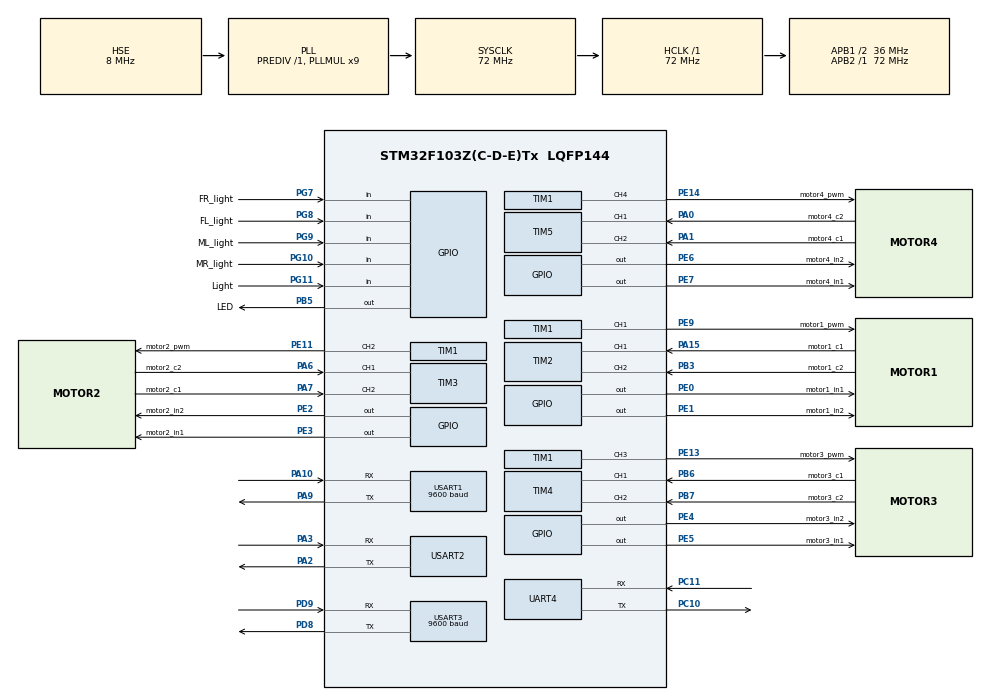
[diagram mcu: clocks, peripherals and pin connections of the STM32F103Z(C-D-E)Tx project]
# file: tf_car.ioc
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Dma.Request0=USART1_RX
Dma.USART1_RX.0.Direction=DMA_PERIPH_TO_MEMORY
Dma.USART1_RX.0.Instance=DMA1_Channel5
Dma.USART1_RX.0.MemDataAlignment=DMA_MDATAALIGN_BYTE
Dma.USART1_RX.0.MemInc=DMA_MINC_ENABLE
Dma.USART1_RX.0.Mode=DMA_CIRCULAR
Dma.USART1_RX.0.PeriphDataAlignment=DMA_PDATAALIGN_BYTE
Dma.USART1_RX.0.PeriphInc=DMA_PINC_DISABLE
Dma.USART1_RX.0.Priority=DMA_PRIORITY_LOW
Mcu.Family=STM32F1
Mcu.Name=STM32F103Z(C-D-E)Tx
Mcu.Package=LQFP144
NVIC.DMA1_Channel5_IRQn=true\:0\:0\:false\:false\:true\:false\:true\:true
NVIC.PriorityGroup=NVIC_PRIORITYGROUP_4
NVIC.TIM2_IRQn=true\:0\:0\:true\:false\:true\:true\:true\:true
NVIC.TIM3_IRQn=true\:0\:0\:true\:false\:true\:true\:true\:true
NVIC.TIM4_IRQn=true\:0\:0\:true\:false\:true\:true\:true\:true
NVIC.TIM5_IRQn=true\:0\:0\:true\:false\:true\:true\:true\:true
NVIC.TIM6_IRQn=true\:0\:0\:false\:false\:true\:true\:true\:true
NVIC.UART4_IRQn=true\:0\:0\:false\:false\:true\:true\:true\:true
NVIC.USART1_IRQn=true\:0\:0\:false\:false\:true\:true\:true\:true
NVIC.USART2_IRQn=true\:0\:0\:true\:false\:true\:true\:true\:true
NVIC.USART3_IRQn=true\:0\:0\:false\:false\:true\:true\:true\:true
OSC_IN.Mode=HSE-External-Oscillator
OSC_IN.Signal=RCC_OSC_IN
OSC_OUT.Mode=HSE-External-Oscillator
OSC_OUT.Signal=RCC_OSC_OUT
PA0-WKUP.GPIO_Label=motor4_c2
PA0-WKUP.GPIO_PuPd=GPIO_PULLUP
PA0-WKUP.Signal=S_TIM5_CH1
PA1.GPIO_Label=motor4_c1
PA1.GPIO_PuPd=GPIO_PULLUP
PA1.Signal=S_TIM5_CH2
PA10.Mode=Asynchronous
PA10.Signal=USART1_RX
PA13.Mode=Serial_Wire
PA13.Signal=SYS_JTMS-SWDIO
PA14.Mode=Serial_Wire
PA14.Signal=SYS_JTCK-SWCLK
PA15.GPIO_Label=motor1_c1
PA15.GPIO_PuPd=GPIO_PULLUP
PA15.Signal=S_TIM2_CH1_ETR
PA2.Mode=Asynchronous
PA2.Signal=USART2_TX
PA3.Mode=Asynchronous
PA3.Signal=USART2_RX
PA6.GPIO_Label=motor2_c2
PA6.GPIO_PuPd=GPIO_PULLUP
PA6.Signal=S_TIM3_CH1
PA7.GPIO_Label=motor2_c1
PA7.GPIO_PuPd=GPIO_PULLUP
PA7.Signal=S_TIM3_CH2
PA9.Mode=Asynchronous
PA9.Signal=USART1_TX
PB3.GPIO_Label=motor1_c2
PB3.GPIO_PuPd=GPIO_PULLUP
PB3.Signal=S_TIM2_CH2
PB5.GPIO_Label=LED
PB5.Signal=GPIO_Output
PB6.GPIO_Label=motor3_c1
PB6.GPIO_PuPd=GPIO_PULLUP
PB6.Signal=S_TIM4_CH1
PB7.GPIO_Label=motor3_c2
PB7.GPIO_PuPd=GPIO_PULLUP
PB7.Signal=S_TIM4_CH2
PB8.Signal=I2C1_SCL
PB9.Signal=I2C1_SDA
PC10.Mode=Asynchronous
PC10.Signal=UART4_TX
PC11.Mode=Asynchronous
PC11.Signal=UART4_RX
PD8.Mode=Asynchronous
PD8.Signal=USART3_TX
PD9.Mode=Asynchronous
PD9.Signal=USART3_RX
PE0.GPIO_Label=motor1_in1
PE0.Signal=GPIO_Output
PE1.GPIO_Label=motor1_in2
PE1.Signal=GPIO_Output
PE11.GPIO_Label=motor2_pwm
PE11.Signal=S_TIM1_CH2
PE13.GPIO_Label=motor3_pwm
PE13.Signal=S_TIM1_CH3
PE14.GPIO_Label=motor4_pwm
PE14.Signal=S_TIM1_CH4
PE2.GPIO_Label=motor2_in2
PE2.Signal=GPIO_Output
PE3.GPIO_Label=motor2_in1
PE3.Signal=GPIO_Output
PE4.GPIO_Label=motor3_in2
PE4.Signal=GPIO_Output
PE5.GPIO_Label=motor3_in1
PE5.Signal=GPIO_Output
PE6.GPIO_Label=motor4_in2
PE6.Signal=GPIO_Output
PE7.GPIO_Label=motor4_in1
PE7.Signal=GPIO_Output
PE9.GPIO_Label=motor1_pwm
PE9.Signal=S_TIM1_CH1
PG10.GPIO_Label=MR_light
PG10.Signal=GPIO_Input
PG11.GPIO_Label=Light
PG11.Signal=GPIO_Input
PG7.GPIO_Label=FR_light
PG7.Signal=GPIO_Input
PG8.GPIO_Label=FL_light
PG8.Signal=GPIO_Input
PG9.GPIO_Label=ML_light
PG9.Signal=GPIO_Input
ProjectManager.HeapSize=0x200
ProjectManager.StackSize=0x400
ProjectManager.TargetToolchain=MDK-ARM V5.32
RCC.AHBFreq_Value=72000000
RCC.APB1CLKDivider=RCC_HCLK_DIV2
RCC.APB1Freq_Value=36000000
RCC.APB1TimFreq_Value=72000000
RCC.APB2Freq_Value=72000000
RCC.APB2TimFreq_Value=72000000
RCC.HCLKFreq_Value=72000000
RCC.PLLMUL=RCC_PLL_MUL9
RCC.PLLSourceVirtual=RCC_PLLSOURCE_HSE
RCC.SYSCLKFreq_VALUE=72000000
RCC.SYSCLKSource=RCC_SYSCLKSOURCE_PLLCLK
RCC.USBFreq_Value=72000000
SH.S_TIM1_CH1.0=TIM1_CH1,PWM Generation1 CH1
SH.S_TIM1_CH2.0=TIM1_CH2,PWM Generation2 CH2
SH.S_TIM1_CH3.0=TIM1_CH3,PWM Generation3 CH3
SH.S_TIM1_CH4.0=TIM1_CH4,PWM Generation4 CH4
SH.S_TIM2_CH1_ETR.0=TIM2_CH1,Encoder_Interface
SH.S_TIM2_CH2.0=TIM2_CH2,Encoder_Interface
SH.S_TIM3_CH1.0=TIM3_CH1,Encoder_Interface
SH.S_TIM3_CH2.0=TIM3_CH2,Encoder_Interface
SH.S_TIM4_CH1.0=TIM4_CH1,Encoder_Interface
SH.S_TIM4_CH2.0=TIM4_CH2,Encoder_Interface
SH.S_TIM5_CH1.0=TIM5_CH1,Encoder_Interface
SH.S_TIM5_CH2.0=TIM5_CH2,Encoder_Interface
TIM1.AutoReloadPreload=TIM_AUTORELOAD_PRELOAD_ENABLE
TIM1.Channel-PWM\ Generation1\ CH1=TIM_CHANNEL_1
TIM1.Channel-PWM\ Generation2\ CH2=TIM_CHANNEL_2
TIM1.Channel-PWM\ Generation3\ CH3=TIM_CHANNEL_3
TIM1.Channel-PWM\ Generation4\ CH4=TIM_CHANNEL_4
TIM1.Period=100-1
TIM1.Prescaler=1440-1
TIM1.Pulse-PWM\ Generation1\ CH1=50
TIM1.Pulse-PWM\ Generation2\ CH2=50
TIM1.Pulse-PWM\ Generation3\ CH3=50
TIM1.Pulse-PWM\ Generation4\ CH4=50
TIM2.EncoderMode=TIM_ENCODERMODE_TI12
TIM2.IC1Filter=6
TIM2.IC2Filter=6
TIM3.EncoderMode=TIM_ENCODERMODE_TI12
TIM3.IC1Filter=6
TIM3.IC2Filter=6
TIM4.EncoderMode=TIM_ENCODERMODE_TI12
TIM4.IC1Filter=6
TIM4.IC2Filter=6
TIM5.EncoderMode=TIM_ENCODERMODE_TI12
TIM5.IC1Filter=6
TIM5.IC2Filter=6
TIM6.Period=100-1
TIM6.Prescaler=720-1
UART4.VirtualMode=Asynchronous
USART1.BaudRate=9600
USART1.VirtualMode=VM_ASYNC
USART2.VirtualMode=VM_ASYNC
USART3.BaudRate=9600
USART3.VirtualMode=VM_ASYNC
VP_TIM6_VS_ClockSourceINT.Mode=Enable_Timer
board=custom

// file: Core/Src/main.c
/* USER CODE BEGIN Header */
/**
  ******************************************************************************
  * @file           : main.c
  * @brief          : Main program body
  ******************************************************************************
  * @attention
  *
  * Copyright (c) 2023 STMicroelectronics.
  * All rights reserved.
  *
  * This software is licensed under terms that can be found in the LICENSE file
  * in the root directory of this software component.
  * If no LICENSE file comes with this software, it is provided AS-IS.
  *
  ******************************************************************************
  */
/* USER CODE END Header */
#include "main.h"
#include "dma.h"
#include "tim.h"
#include "usart.h"
#include "gpio.h"

/* USER CODE BEGIN Includes */
#include "stdio.h"
#include "motor.h"
#include "encoder.h"
#include "pid.h"
#include "bsp_usart.h"
#include "bsp_tim.h"
#include "bsp_tim.h"
#include "move.h"
#include "imu.h"
#include "jy901.h"
#include "vision.h"
#include "arm.h"
#include "distance.h"
#include "cmd.h"
/* USER CODE END Includes */

void SystemClock_Config(void);
/* USER CODE BEGIN PFP */
void HAL_TIM_PeriodElapasedCallback(TIM_HandleTypeDef *htim);
void track(void);
/* USER CODE END PFP */

/* USER CODE BEGIN 0 */
extern unsigned char RedORBlue;
extern uint8_t flagr;
extern uint8_t flagg;
extern unsigned char RedORBlueData[3];
int from_a_or_b=0;//0为A，1为B
uint8_t greencount=0,redcount=0;

extern float motor1speed;
extern float motor2speed;
extern float motor3speed;
extern float motor4speed;
extern float motor1mileage;
extern float motor2mileage;
extern float motor3mileage;
extern float motor4mileage;
extern float mileage;
int position_control_flag=0;
extern tpid pid1,pid2,pid3,pid4,pid1s,pidturn;
uint16_t timercount=0;
uint16_t timercount1=0;
extern short encoder1count;
extern short encoder2count;
extern short encoder3count;
extern short encoder4count;
float v1,v2,v3,v4;
extern User_USART JY901_data;
float direction0;

/* USER CODE END 0 */

int main(void)
{
  /* USER CODE BEGIN 1 */
	int n;
	int cnt1;
  /* USER CODE END 1 */

  /* MCU Configuration--------------------------------------------------------*/

  /* Reset of all peripherals, Initializes the Flash interface and the Systick. */
  HAL_Init();

  /* Configure the system clock */
  SystemClock_Config();

  /* Initialize all configured peripherals */
  MX_GPIO_Init();
  MX_DMA_Init();
  MX_USART2_UART_Init();
  MX_TIM1_Init();
  MX_TIM2_Init();
  MX_TIM3_Init();
  MX_TIM4_Init();
  MX_TIM5_Init();
  MX_TIM6_Init();
  MX_USART1_UART_Init();
  MX_USART3_UART_Init();
  MX_UART4_Init();
  /* USER CODE BEGIN 2 */
	HAL_TIM_Base_Start_IT(&htim6);             //启动时基
	motor_encoder_init();
	motor_pwm_init();
	pid_init();
	__HAL_UART_ENABLE_IT(&huart2,UART_IT_RXNE);
	v1=0;
	v2=0;
	v3=0;
	v4=0;
	User_USART_Init(&JY901_data);
	HAL_Delay(3000);
	direction0=JY901_data.angle.angle[2];
  /* USER CODE END 2 */

  /* Infinite loop */
  /* USER CODE BEGIN WHILE */

/*         D******************E******************F */
/*         *                  *                  * */
/*         *                  *                  * */
/*         *                  *                  * */
/*         A******************B******************C */
/*         *                                       */
/*         *    ********************************** */
/*         O                                       */

/***********O点到A点右转************************* */

	HAL_Delay(1000);
	direction0=JY901_data.angle.angle[2];
	arm_action(3);  //舵机开始位
	gofoward(O_T0_A,direction0);
	gocontinue(O_T0_A,direction0);
	HAL_Delay(1000);
	turn(direction0+90);
	turn(direction0+90);
	HAL_Delay(500);

/***********ABC方向前进*************************** */
	 motor_speed_set(40,40,40,40);
  for(cnt1=0;cnt1<10;cnt1++)
{
	 act1(cnt1);//识别到放置存储区回到A过程

/***********A点后方向选择*************************** */
	 if(cnt1<9) //不是最后一次就左转
	 {
			direction0=JY901_data.angle.angle[2];
			turn(direction0-90);
		  turn(direction0-90);
	 }//此时车头朝ABC方向

	 if(cnt1==9)//最后一次直走会出发点
	 {
		 direction0=JY901_data.angle.angle[2];
		 gofoward(O_T0_A+200,direction0);
		 gocontinue(O_T0_A+200,direction0);
	 }
}
//
//

  while (1)
  {
		v1=0;
		v2=0;
		v3=0;
		v4=0;
    /* USER CODE END WHILE */

    /* USER CODE BEGIN 3 */

//		HAL_Delay(500);
//		motor_pwm_set(-40,-40,-40,-40);
//		uint8_t c_Data[]="及你太美\r\n";
//		HAL_UART_Transmit(&huart1,c_Data,sizeof(c_Data),0xffff);
//		handler_data(&pid1);
//		printf("1:%d\r\n",encoder1count);
//		printf("2:%d\r\n",encoder2count);
//		printf("3:%d\r\n",encoder3count);
//		printf("4:%d\r\n",encoder4count);
		HAL_Delay(10);
  }
  /* USER CODE END 3 */
}

void SystemClock_Config(void)
{
  RCC_OscInitTypeDef RCC_OscInitStruct = {0};
  RCC_ClkInitTypeDef RCC_ClkInitStruct = {0};

  /** Initializes the RCC Oscillators according to the specified parameters
  * in the RCC_OscInitTypeDef structure.
  */
  RCC_OscInitStruct.OscillatorType = RCC_OSCILLATORTYPE_HSE;
  RCC_OscInitStruct.HSEState = RCC_HSE_ON;
  RCC_OscInitStruct.HSEPredivValue = RCC_HSE_PREDIV_DIV1;
  RCC_OscInitStruct.HSIState = RCC_HSI_ON;
  RCC_OscInitStruct.PLL.PLLState = RCC_PLL_ON;
  RCC_OscInitStruct.PLL.PLLSource = RCC_PLLSOURCE_HSE;
  RCC_OscInitStruct.PLL.PLLMUL = RCC_PLL_MUL9;
  if (HAL_RCC_OscConfig(&RCC_OscInitStruct) != HAL_OK)
  {
    Error_Handler();
  }

  /** Initializes the CPU, AHB and APB buses clocks
  */
  RCC_ClkInitStruct.ClockType = RCC_CLOCKTYPE_HCLK|RCC_CLOCKTYPE_SYSCLK
                              |RCC_CLOCKTYPE_PCLK1|RCC_CLOCKTYPE_PCLK2;
  RCC_ClkInitStruct.SYSCLKSource = RCC_SYSCLKSOURCE_PLLCLK;
  RCC_ClkInitStruct.AHBCLKDivider = RCC_SYSCLK_DIV1;
  RCC_ClkInitStruct.APB1CLKDivider = RCC_HCLK_DIV2;
  RCC_ClkInitStruct.APB2CLKDivider = RCC_HCLK_DIV1;

  if (HAL_RCC_ClockConfig(&RCC_ClkInitStruct, FLASH_LATENCY_2) != HAL_OK)
  {
    Error_Handler();
  }
}

/* USER CODE BEGIN 4 */

void HAL_TIM_PeriodElapsedCallback(TIM_HandleTypeDef *htim)
{
   	if(htim == &htim6)//1ms 1000hz
	{
		timercount++;
		timercount1++;
//		imu_getdata();
//		if(timercount1<=5000)
//		{
//			v2=80;
//		}
//		else{
//			v2=0;
//		}
		if(timercount%10 == 0)//10ms计算速度
		{
			motor_encoder_getdata();
		}
		if(timercount%20 == 0)//20ms计算速度
		{
			pid_realize_turn(&pidturn,JY901_data.angle.angle[2]);
			if(position_control_flag==1)
			{
					motor_getmmileage();
					pid_realize_s(&pid1s,mileage);
				motor_speedpid_conrol(pid1s.out-pidturn.out,pid1s.out+pidturn.out,pid1s.out+pidturn.out,pid1s.out-pidturn.out);
			}
			else
			{

				motor_speedpid_conrol(v1-pidturn.out,v2+pidturn.out,v3+pidturn.out,v4-pidturn.out);
//				motor_speedopenloop_conrol(40,40,40,40);
				float data1,data2,data3;
				data1=(float)JY901_data.angle.angle[0];
				data2=(float)JY901_data.angle.angle[1];
				data3=(float)JY901_data.angle.angle[2];
				printf("%.2f,%.2f,%.2f\n",data1,data2,data3);
			}
			timercount=0;
		}
	}
}

void track(void)
{
	int fl,fr,ml,mr;
	fl=HAL_GPIO_ReadPin(FL_light_GPIO_Port,FL_light_Pin);
	fr=HAL_GPIO_ReadPin(FR_light_GPIO_Port,FR_light_Pin);
	ml=HAL_GPIO_ReadPin(ML_light_GPIO_Port,ML_light_Pin);
	mr=HAL_GPIO_ReadPin(MR_light_GPIO_Port,MR_light_Pin);

		if(fl ==0 && fr ==1)
		{
			v1=40;
			v3=10;
			v2=10;
			v4=40;
		}
		else if(fl ==1 && fr ==0)
		{
			v1=10;
			v3=40;
			v2=40;
			v4=10;
		}
		else
		{
			v1=40;
			v3=40;
			v2=40;
			v4=40;
		}

		if((fl == 0 && fr == 0)||(fl == 1&& fr == 1))//直走
		{
			HAL_Delay(500);
			if((fl == 0 && fr == 0)||(fl == 1&& fr == 1))
			{
			v1=40;
			v3=40;
			v2=40;
			v4=40;
			HAL_Delay(500);

			 }
		}
}
int light;
/******************识别到放置存储区回到A过程***********/
void act1(uint8_t action_cnt)
{
	mileage=0;
	light=HAL_GPIO_ReadPin(Light_GPIO_Port,Light_Pin);
	 flagr=flagg=0;
	/******************循迹等待识别到盆栽***********/
   while(1)
  {
		track();
		if(LIGHT==0)
		{
			HAL_Delay(20);//消抖
			if(LIGHT==0)
			{
			motor_stop();
			HAL_Delay(1000);
      arm_action(6);                   // 转过去识别
			__HAL_UART_ENABLE_IT(&huart4,UART_IT_IDLE);
			vision_handler();
			HAL_Delay(2500);
			if(flagr)
			{redcount++;}
			if(flagg)
			{greencount++;}
			__HAL_UART_DISABLE_IT(&huart4,UART_IT_IDLE);
//			HAL_Delay(1000);
			arm_action(1);                  //  抓取和回中
			HAL_Delay(3000);
			break;
			}
		}
  }
motor_stop();
HAL_Delay(1000);
if(action_cnt+1<=5&&flagg)//次数小于5且为绿
{
 flagg=0;
 direction0=JY901_data.angle.angle[2];

 while(1)
{
  track();
	if(HAL_GPIO_ReadPin(ML_light_GPIO_Port,ML_light_Pin)==0)
	{
		HAL_Delay(20);
		if(HAL_GPIO_ReadPin(ML_light_GPIO_Port,ML_light_Pin)==0)
		{
				mileage=0;
				direction0=JY901_data.angle.angle[2];
				turn(direction0-90);
				turn(direction0-90);
			break;
		}

	}
}
// gocontinue(A_T0_B,direction0);
// gocontinue(A_T0_B,direction0);
// mileage=0;
//	direction0=JY901_data.angle.angle[2];
// turn(direction0-90);
// turn(direction0-90);
 direction0=JY901_data.angle.angle[2];
 gofoward(B_T0_E,direction0);
	gocontinue(B_T0_E,direction0);
 direction0=JY901_data.angle.angle[2];
 turn(direction0-90);
 turn(direction0-90);
 mileage=0;
 direction0=JY901_data.angle.angle[2];//两次左转即AB向到B到E转向D

 gocontinue(greencount*1500,direction0);
 motor_stop();
 HAL_Delay(1000);
 arm_action(2);
 HAL_Delay(4500);//计算走的距离并放下
 motor_stop();
 HAL_Delay(100);
 gocontinue(E_T0_D,direction0);
 gocontinue(E_T0_D,direction0);
 direction0=JY901_data.angle.angle[2];
 turn(direction0-90);
 turn(direction0-90);
 mileage=0;
 direction0=JY901_data.angle.angle[2];
 gofoward(D_T0_A,direction0);//继续向前左转回A
 gocontinue(D_T0_A,direction0);
 from_a_or_b=0;
 HAL_Delay(750);
}
if(action_cnt+1>5&&flagg)//次数大于5且为绿
{
 flagg=0;
 direction0=JY901_data.angle.angle[2];

 while(1)
{
  track();
	if(HAL_GPIO_ReadPin(ML_light_GPIO_Port,ML_light_Pin)==0)
	{
		HAL_Delay(20);
		if(HAL_GPIO_ReadPin(ML_light_GPIO_Port,ML_light_Pin)==0)
		{
				mileage=0;
				direction0=JY901_data.angle.angle[2];
				turn(direction0-90);
				turn(direction0-90);
			break;
		}

	}
}

//	if(from_a_or_b==0)
//	{
//		gocontinue(A_T0_B+B_T0_C,direction0);
//	}
//	if(from_a_or_b==1)
//	{
//		gocontinue(B_T0_C,direction0);
//	}
// mileage=0;
// direction0=JY901_data.angle.angle[2];
// turn(direction0-90);
// turn(direction0-90);

 direction0=JY901_data.angle.angle[2];
 gofoward(C_T0_F,direction0);
 gocontinue(C_T0_F,direction0);
 direction0=JY901_data.angle.angle[2];
 turn(direction0-90);
 turn(direction0-90);
 mileage=0;
 direction0=JY901_data.angle.angle[2]; //两次左转即ABC向到F转向E

 gocontinue(F_T0_E+greencount*1500,direction0);						//FED向过E
 motor_stop();
 HAL_Delay(1000);
 arm_action(2);
 HAL_Delay(4500);//计算走的距离并放下
 motor_stop();
 HAL_Delay(100);

 gocontinue(E_T0_D+F_T0_E,direction0);
  gocontinue(E_T0_D+F_T0_E,direction0);
 direction0=JY901_data.angle.angle[2];
 turn(direction0-90);
 turn(direction0-90);
 mileage=0;
 direction0=JY901_data.angle.angle[2];
 gofoward(D_T0_A,direction0);             //继续循迹向前左转回A
 gocontinue(D_T0_A,direction0);
 from_a_or_b=0;
 HAL_Delay(750);
}
if(flagr && action_cnt+1<=5) //次数小于5且为红
{
 flagr=0;
 direction0=JY901_data.angle.angle[2];

	while(1)
{
 track();
 if(HAL_GPIO_ReadPin(ML_light_GPIO_Port,ML_light_Pin)==0&&HAL_GPIO_ReadPin(MR_light_GPIO_Port,MR_light_Pin)==1)
 {
  HAL_Delay(1000);
	break;
 }
}
	 while(1)
{
  track();
	if(HAL_GPIO_ReadPin(ML_light_GPIO_Port,ML_light_Pin)==0)
	{
		HAL_Delay(20);
		if(HAL_GPIO_ReadPin(ML_light_GPIO_Port,ML_light_Pin)==0)
		{
				mileage=0;
				direction0=JY901_data.angle.angle[2];
				turn(direction0-90);
				turn(direction0-90);
			break;
		}

	}
}
//	if(from_a_or_b==0)
//	{
//		gocontinue(A_T0_B+B_T0_C,direction0);
//		gocontinue(A_T0_B+B_T0_C,direction0);
//	}
//	if(from_a_or_b==1)
//	{
//		gocontinue(B_T0_C,direction0);
//		gocontinue(B_T0_C,direction0);
//	}             //过B继续到C
//
// mileage=0;
// direction0=JY901_data.angle.angle[2];
// turn(direction0-90);
// turn(direction0-90);

 direction0=JY901_data.angle.angle[2];
 gofoward(C_T0_F,direction0);
	gocontinue(C_T0_F,direction0);
	direction0=JY901_data.angle.angle[2];
 turn(direction0-90);
 turn(direction0-90);
 mileage=0;
 direction0=JY901_data.angle.angle[2];               //两次左转即ABC向到F转向E

 gocontinue(redcount*1500,direction0);
	motor_stop();
 HAL_Delay(1000);
 arm_action(2);
 HAL_Delay(4500);//计算走的距离并放下
 motor_stop();
 HAL_Delay(100);//////根据红色盆栽数延时走距离并放下

 gocontinue(E_T0_D+F_T0_E,direction0);               //FED向循迹过E
 gocontinue(E_T0_D+F_T0_E,direction0);
 direction0=JY901_data.angle.angle[2];
  turn(direction0-90);
	turn(direction0-90);
 mileage=0;
 direction0=JY901_data.angle.angle[2];
 gofoward(D_T0_A,direction0);                    //继续循迹向前左转回A
 gocontinue(D_T0_A,direction0);
 from_a_or_b=0;
 HAL_Delay(750);
}

if(flagr && action_cnt+1>5 && action_cnt+1<=9)//次数大于5且为红
{
 flagr=0;

 direction0=JY901_data.angle.angle[2];

	 while(1)
{
  track();
	if(HAL_GPIO_ReadPin(ML_light_GPIO_Port,ML_light_Pin)==0)
	{
		HAL_Delay(20);
		if(HAL_GPIO_ReadPin(ML_light_GPIO_Port,ML_light_Pin)==0)
		{
				mileage=0;
				direction0=JY901_data.angle.angle[2];
				turn(direction0-90);
				turn(direction0-90);
			break;
		}

	}
}
// if(from_a_or_b==0)
//	{
//		gocontinue(A_T0_B+B_T0_C,direction0);
//	}
//	if(from_a_or_b==1)
//	{
//		gocontinue(B_T0_C,direction0);
//	}
//
// mileage=0;
//	direction0=JY901_data.angle.angle[2];
// turn(direction0-90);
//	turn(direction0-90);

 direction0=JY901_data.angle.angle[2];
 gofoward(C_T0_F,direction0);
 gocontinue(C_T0_F,direction0);
	direction0=JY901_data.angle.angle[2];
 turn(direction0-90);
 turn(direction0-90);
 mileage=0;
 direction0=JY901_data.angle.angle[2];                         //两次左转即ABC向到F转向E

 gocontinue(redcount*1500,direction0);

	motor_stop();
 HAL_Delay(1000);
 arm_action(2);
 HAL_Delay(4500);//计算走的距离并放下
 motor_stop();
 HAL_Delay(100);/////////根据红色盆栽数延时走距离并放下

 gocontinue(B_T0_E,direction0);               //FED向到E
  gocontinue(B_T0_E,direction0);
 direction0=JY901_data.angle.angle[2];
 turn(direction0-90);
turn(direction0-90);
 mileage=0;
 direction0=JY901_data.angle.angle[2];
 gofoward(B_T0_E,direction0);
gocontinue(B_T0_E,direction0); //继续向前左转回B，不是最后一次会左转即朝ABC向
 from_a_or_b=1;
	HAL_Delay(750);
}

if(flagr && action_cnt+1==10)//最后一个是红色
{
 flagr=0;

 direction0=JY901_data.angle.angle[2];

while(1)
{
  track();
	if(HAL_GPIO_ReadPin(ML_light_GPIO_Port,ML_light_Pin)==0)
	{
		HAL_Delay(20);
		if(HAL_GPIO_ReadPin(ML_light_GPIO_Port,ML_light_Pin)==0)
		{
				mileage=0;
				direction0=JY901_data.angle.angle[2];
				turn(direction0-90);
				turn(direction0-90);
			break;
		}

	}
}
// if(from_a_or_b==0)
//	{
//		gocontinue(A_T0_B+B_T0_C,direction0);
//	}
//	if(from_a_or_b==1)
//	{
//		gocontinue(B_T0_C,direction0);
//	}
//
//	mileage=0;
//	direction0=JY901_data.angle.angle[2];
// turn(direction0-90);
//	turn(direction0-90);

 direction0=JY901_data.angle.angle[2];
 gofoward(C_T0_F,direction0);
	gocontinue(C_T0_F,direction0);
	direction0=JY901_data.angle.angle[2];
 turn(direction0-90);
	turn(direction0-90);
 mileage=0;
 direction0=JY901_data.angle.angle[2]; //两次左转即ABC向到F转向E

 gocontinue(redcount*1500,direction0);           //根据红色盆栽数延时走距离并放下
 motor_stop();
HAL_Delay(100);
 gocontinue(E_T0_D+F_T0_E,direction0);               //FED向循迹过E
	 gocontinue(E_T0_D+F_T0_E,direction0);
	direction0=JY901_data.angle.angle[2];
  turn(direction0-90);
	turn(direction0-90);
 mileage=0;
 direction0=JY901_data.angle.angle[2];
 gofoward(D_T0_A,direction0);                        //继续向前左转回A
 gocontinue(D_T0_A,direction0);
	from_a_or_b=0;
	HAL_Delay(750);
}
if(flagg && action_cnt+1==10)//最后一个是绿的
{
	 flagg=0;

	direction0=JY901_data.angle.angle[2];

while(1)
{
  track();
	if(HAL_GPIO_ReadPin(ML_light_GPIO_Port,ML_light_Pin)==0)
	{
		HAL_Delay(20);
		if(HAL_GPIO_ReadPin(ML_light_GPIO_Port,ML_light_Pin)==0)
		{
				mileage=0;
				direction0=JY901_data.angle.angle[2];
				turn(direction0-90);
				turn(direction0-90);
			break;
		}

	}
}
// if(from_a_or_b==0)
//	{
//		gocontinue(A_T0_B+B_T0_C,direction0);
//	}
//	if(from_a_or_b==1)
//	{
//		gocontinue(B_T0_C,direction0);
//	}
//
//	mileage=0;
//	direction0=JY901_data.angle.angle[2];
// turn(direction0-90);
//	turn(direction0-90);

 direction0=JY901_data.angle.angle[2];
 gofoward(C_T0_F,direction0);
	gocontinue(C_T0_F,direction0);
	direction0=JY901_data.angle.angle[2];
 turn(direction0-90);
	turn(direction0-90);
 mileage=0;
 direction0=JY901_data.angle.angle[2];  //两次左转即ABC向到F转向E

 gocontinue(F_T0_E+greencount*1500,direction0);						//FED向过E
 motor_stop();
 HAL_Delay(1000);
 arm_action(2);
 HAL_Delay(4500);//计算走的距离并放下
 motor_stop();
 HAL_Delay(100);        //根据绿色盆栽数延时走距离并放下

	 gocontinue(E_T0_D+F_T0_E,direction0);               //FED向循迹过E
	  gocontinue(E_T0_D+F_T0_E,direction0);
 direction0=JY901_data.angle.angle[2];
 turn(direction0-90);
 turn(direction0-90);
 mileage=0;
 direction0=JY901_data.angle.angle[2];
 gofoward(D_T0_A,direction0);                        //继续向前左转回A
 gocontinue(D_T0_A,direction0);
	from_a_or_b=0;
	HAL_Delay(750);
}
}
/* USER CODE END 4 */

void Error_Handler(void)
{
  __disable_irq();
  while (1)
  {
  }
}
